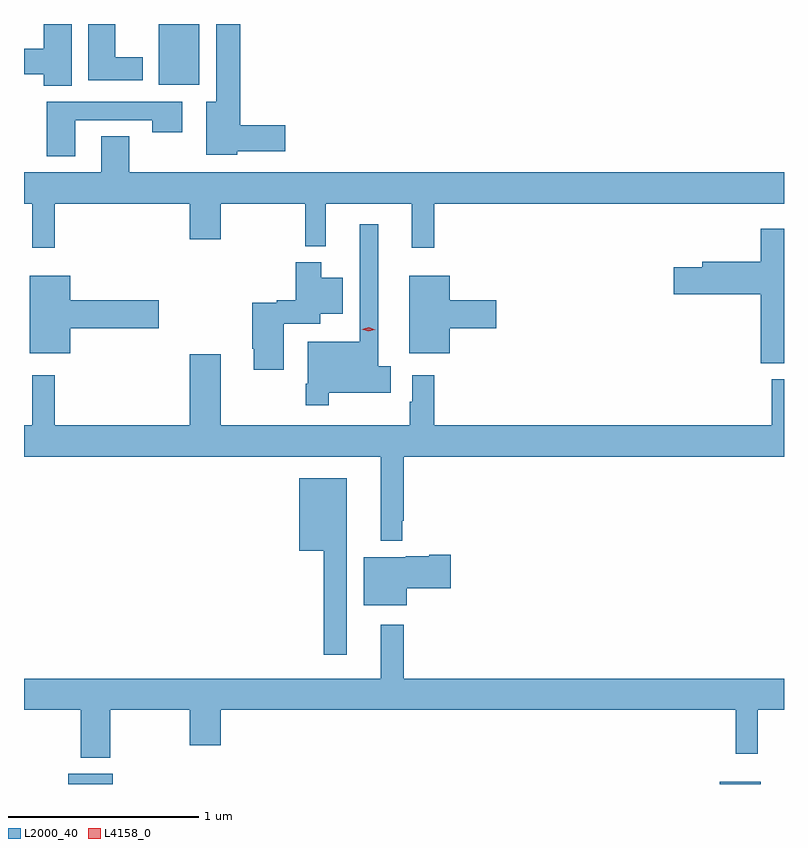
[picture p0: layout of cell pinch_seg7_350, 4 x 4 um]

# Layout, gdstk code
import gdstk
lib = gdstk.Library(unit=1e-6, precision=1e-09)
def R(c, l, rs):  # rectangles x0, y0, x1, y1
    for r in rs: c.add(gdstk.rectangle(r[:2], r[2:], *l))
def P(c, l, *ps):  # polygons
    for p in ps: c.add(gdstk.Polygon(p, *l))
L2000_40 = (2000, 40)
L4158_0 = (4158, 0)

pinch_seg7_350 = lib.new_cell('pinch_seg7_350')
R(pinch_seg7_350, L2000_40, [(428.105,1018.873,428.338,1018.927), (431.534,1018.873,431.749,1018.885), (428.582,1022.552,428.794,1022.873)])
P(pinch_seg7_350, L2000_40, [(428.994,1022.204),(429.247,1022.204),(429.247,1022.339),(429.011,1022.339),(429.011,1022.873),(428.885,1022.873),(428.885,1022.464),(428.831,1022.464),(428.831,1022.186),(428.994,1022.186)],
  [(428.122,1022.873),(427.976,1022.873),(427.976,1022.744),(427.872,1022.744),(427.872,1022.608),(427.976,1022.608),(427.976,1022.548),(428.122,1022.548)],
  [(428.497,1022.698),(428.353,1022.698),(428.353,1022.873),(428.21,1022.873),(428.21,1022.576),(428.497,1022.576)],
  [(428.143,1022.367),(428.548,1022.367),(428.548,1022.304),(428.704,1022.304),(428.704,1022.463),(427.991,1022.463),(427.991,1022.178),(428.143,1022.178)],
  [(428.033,1021.928),(428.744,1021.928),(428.744,1021.74),(428.908,1021.74),(428.908,1021.928),(429.351,1021.928),(429.351,1021.703),(429.461,1021.703),(429.461,1021.928),(429.914,1021.928),(429.914,1021.695),(430.031,1021.695),(430.031,1021.928),(431.872,1021.928),(431.872,1022.092),(428.427,1022.092),(428.427,1022.282),(428.279,1022.282),(428.279,1022.092),(427.872,1022.092),(427.872,1021.928),(427.916,1021.928),(427.916,1021.695),(428.033,1021.695)],
  [(429.475,1020.932),(429.802,1020.932),(429.802,1021.073),(429.736,1021.073),(429.736,1021.819),(429.639,1021.819),(429.639,1021.201),(429.366,1021.201),(429.366,1020.979),(429.354,1020.979),(429.354,1020.867),(429.475,1020.867)],
  [(431.872,1021.795),(431.75,1021.795),(431.75,1021.623),(431.441,1021.623),(431.441,1021.593),(431.292,1021.593),(431.292,1021.451),(431.75,1021.451),(431.75,1021.088),(431.872,1021.088)],
  [(429.238,1021.295),(429.43,1021.295),(429.43,1021.349),(429.55,1021.349),(429.55,1021.537),(429.436,1021.537),(429.436,1021.618),(429.302,1021.618),(429.302,1021.418),(429.201,1021.418),(429.201,1021.405),(429.073,1021.405),(429.073,1021.165),(429.08,1021.165),(429.08,1021.053),(429.238,1021.053)],
  [(428.116,1021.271),(428.581,1021.271),(428.581,1021.418),(428.116,1021.418),(428.116,1021.549),(427.901,1021.549),(427.901,1021.139),(428.116,1021.139)],
  [(430.114,1021.271),(430.357,1021.271),(430.357,1021.418),(430.114,1021.418),(430.114,1021.549),(429.899,1021.549),(429.899,1021.139),(430.114,1021.139)],
  [(429.863,1020.259),(429.871,1020.259),(429.871,1020.596),(431.872,1020.596),(431.872,1021.003),(431.807,1021.003),(431.807,1020.76),(430.031,1020.76),(430.031,1021.024),(429.915,1021.024),(429.915,1020.884),(429.903,1020.884),(429.903,1020.76),(428.908,1020.76),(428.908,1021.135),(428.744,1021.135),(428.744,1020.76),(428.033,1020.76),(428.033,1021.024),(427.916,1021.024),(427.916,1020.76),(427.872,1020.76),(427.872,1020.596),(429.749,1020.596),(429.749,1020.152),(429.863,1020.152)],
  [(429.571,1020.481),(429.32,1020.481),(429.32,1020.101),(429.45,1020.101),(429.45,1019.553),(429.571,1019.553)],
  [(429.886,1019.902),(430.117,1019.902),(430.117,1020.08),(430.004,1020.08),(430.004,1020.073),(429.882,1020.073),(429.882,1020.067),(429.659,1020.067),(429.659,1019.813),(429.886,1019.813)],
  [(427.872,1019.264),(428.17,1019.264),(428.17,1019.012),(428.325,1019.012),(428.325,1019.264),(428.744,1019.264),(428.744,1019.076),(428.908,1019.076),(428.908,1019.264),(431.617,1019.264),(431.617,1019.031),(431.735,1019.031),(431.735,1019.264),(431.872,1019.264),(431.872,1019.428),(429.871,1019.428),(429.871,1019.71),(429.749,1019.71),(429.749,1019.428),(427.872,1019.428)])
P(pinch_seg7_350, L4158_0, [(429.685,1021.256),(429.65,1021.267),(429.65,1021.267),(429.65,1021.267),(429.686,1021.276),(429.72,1021.264),(429.721,1021.264),(429.72,1021.264)])

lib.write_gds('pinch_seg7_350.gds')
